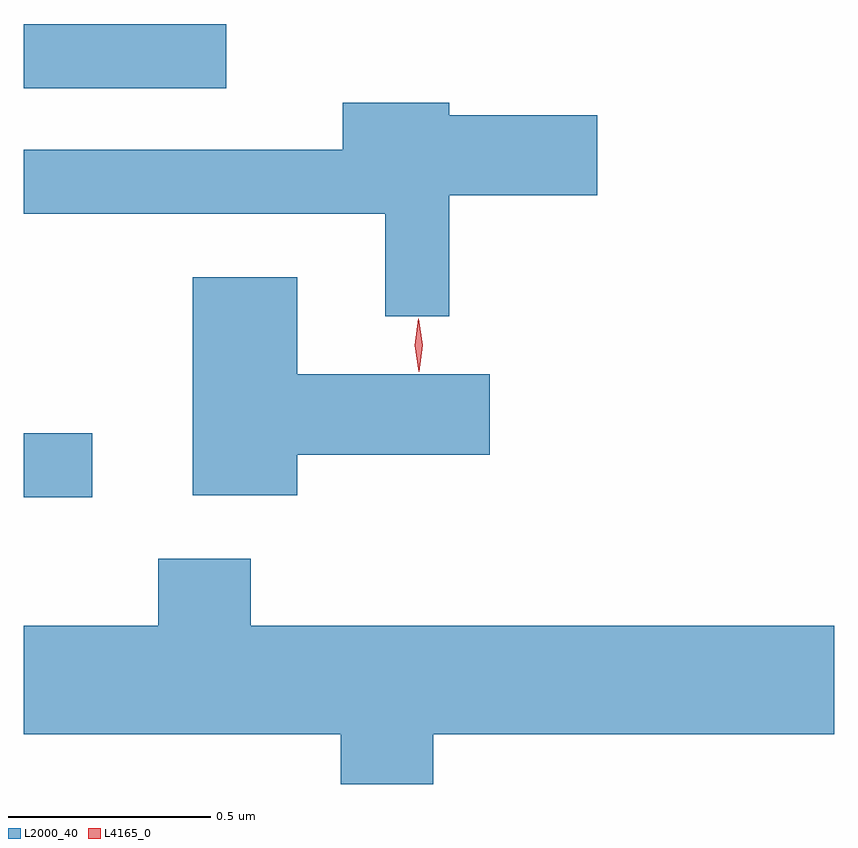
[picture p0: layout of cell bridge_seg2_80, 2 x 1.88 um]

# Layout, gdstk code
import gdstk
lib = gdstk.Library(unit=1e-6, precision=1e-09)
def R(c, l, rs):  # rectangles x0, y0, x1, y1
    for r in rs: c.add(gdstk.rectangle(r[:2], r[2:], *l))
def P(c, l, *ps):  # polygons
    for p in ps: c.add(gdstk.Polygon(p, *l))
L2000_40 = (2000, 40)
L4165_0 = (4165, 0)

bridge_seg2_80 = lib.new_cell('bridge_seg2_80')
R(bridge_seg2_80, L2000_40, [(1178.329,1028.921,1178.498,1029.079), (1178.329,1029.931,1178.828,1030.089)])
P(bridge_seg2_80, L2000_40, [(1179.379,1029.666),(1179.744,1029.666),(1179.744,1029.864),(1179.379,1029.864),(1179.379,1029.894),(1179.116,1029.894),(1179.116,1029.779),(1178.329,1029.779),(1178.329,1029.621),(1179.221,1029.621),(1179.221,1029.368),(1179.379,1029.368)],
  [(1179.004,1029.026),(1179.479,1029.026),(1179.479,1029.224),(1179.004,1029.224),(1179.004,1029.464),(1178.746,1029.464),(1178.746,1028.926),(1179.004,1028.926)],
  [(1179.339,1028.336),(1180.329,1028.336),(1180.329,1028.604),(1178.889,1028.604),(1178.889,1028.769),(1178.661,1028.769),(1178.661,1028.604),(1178.329,1028.604),(1178.329,1028.336),(1179.111,1028.336),(1179.111,1028.213),(1179.339,1028.213)])
P(bridge_seg2_80, L4165_0, [(1179.304,1029.23),(1179.294,1029.296),(1179.303,1029.362),(1179.304,1029.362),(1179.304,1029.362),(1179.314,1029.296),(1179.305,1029.23),(1179.305,1029.23)])

lib.write_gds('bridge_seg2_80.gds')
